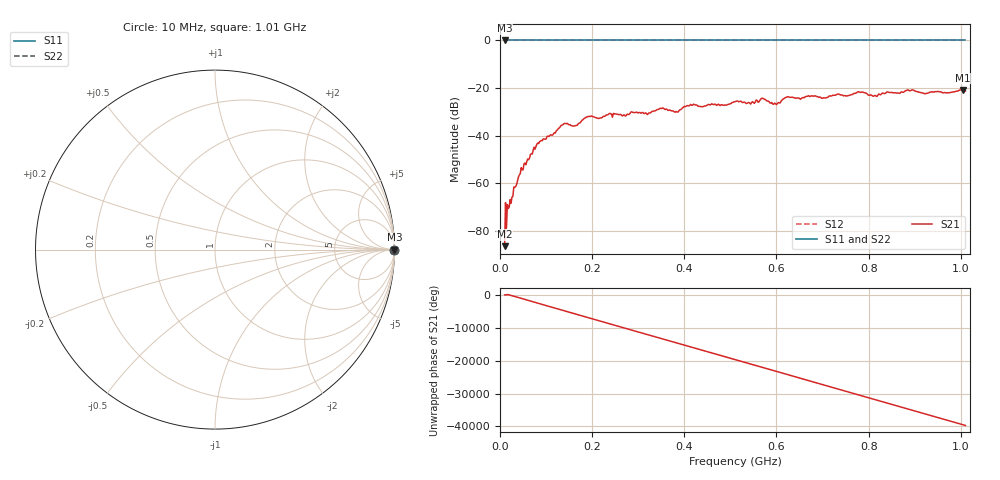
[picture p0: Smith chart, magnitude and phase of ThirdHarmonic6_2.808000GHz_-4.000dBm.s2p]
! 8/17/2025 7:21:21 AM
! C:\ANRITSUVNA\TEMP\TEMP.S2P
! CHANNEL.1
! TR.MEASUREMENT
! RAW.DATA
! RF.CORRECTION.OFF
! AVERAGING.OFF
! IF.BANDWIDTH: 5KHZ
! SWEEPTYPE:  FREQ.SWEEP(Linear)
! Reference Plane Port Info
! PORT:  PORT1  PORT2
! DISTANCE:  0  m  0  m
! TIME:  0  s  0  s
! PHASE.OFFSET:  0  deg.  0  deg.
! LOSS:  0  dB  0  dB
! REF.LOSS:  0  dB  0  dB
! REF.FREQ:  0  Hz  0  Hz
! Power Info
! POWER:  -20  dBm  -20  dBm
! EFF.POWER:  -20  dBm  -20  dBm
! SOURCE.ATTEN:  0  dB  0  dB
! TEST.ATTEN:  0  dB  0  dB
# GHZ S RI R 50.0
! FREQ.GHZ  S11RE  S11IM  S21RE  S21IM  S12RE  S12IM  S22RE  S22IM
!; PortSelection: Port_12
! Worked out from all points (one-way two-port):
!   501 points, 10 MHz to 1.01 GHz, reference 50 ohm
!   highest |S21| = -20.77 dB at 1.004 GHz (marker M1); lowest = -86.5 dB at 10 MHz (marker M2)
!   lowest |S11| = 0.0 dB at 10 MHz (marker M3)
!   |S11| at or under -10 dB: nowhere
!   |S22| runs from 0.0 to 0.0 dB; largest |S21 - S12| = 1.1
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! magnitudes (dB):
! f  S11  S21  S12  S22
! 10 MHz  0.0  -86.5  0.0  0.0
! 16 MHz  0.0  -69.0  0.0  0.0
! 42 MHz  0.0  -56.5  0.0  0.0
! 78 MHz  0.0  -44.7  0.0  0.0
! 136 MHz  0.0  -35.5  0.0  0.0
! 162 MHz  0.0  -36.0  0.0  0.0
! 178 MHz  0.0  -33.6  0.0  0.0
! 194 MHz  0.0  -31.9  0.0  0.0
! 322 MHz  0.0  -30.7  0.0  0.0
! 344 MHz  0.0  -29.0  0.0  0.0
! 382 MHz  0.0  -29.9  0.0  0.0
! 416 MHz  0.0  -27.3  0.0  0.0
! 510 MHz  0.0  -25.8  0.0  0.0
! 570 MHz  0.0  -24.3  0.0  0.0
! 596 MHz  0.0  -26.4  0.0  0.0
! 622 MHz  0.0  -23.9  0.0  0.0
! 678 MHz  0.0  -23.3  0.0  0.0
! 780 MHz  0.0  -21.7  0.0  0.0
! 814 MHz  0.0  -23.1  0.0  0.0
! 844 MHz  0.0  -21.8  0.0  0.0
! 1.004 GHz  0.0  -20.8  0.0  0.0
! 1.01 GHz  0.0  -21.3  0.0  0.0
